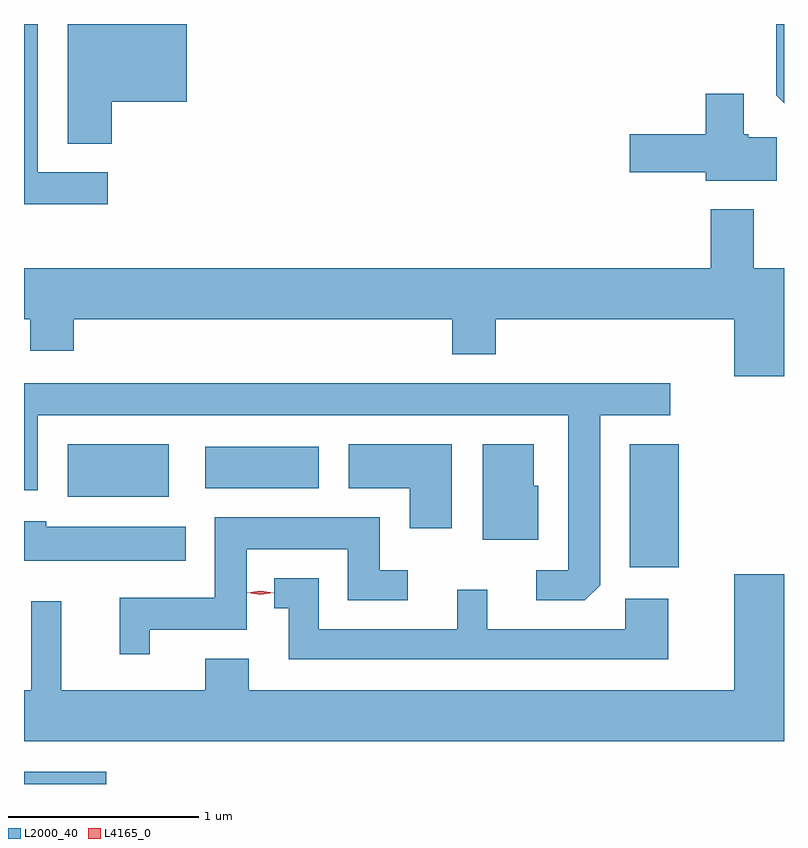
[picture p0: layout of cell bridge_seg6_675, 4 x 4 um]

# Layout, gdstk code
import gdstk
lib = gdstk.Library(unit=1e-6, precision=1e-09)
def R(c, l, rs):  # rectangles x0, y0, x1, y1
    for r in rs: c.add(gdstk.rectangle(r[:2], r[2:], *l))
def P(c, l, *ps):  # polygons
    for p in ps: c.add(gdstk.Polygon(p, *l))
L2000_40 = (2000, 40)
L4165_0 = (4165, 0)

bridge_seg6_675 = lib.new_cell('bridge_seg6_675')
R(bridge_seg6_675, L2000_40, [(311.237,1540.93,311.669,1540.994), (314.426,1542.071,314.684,1542.719), (311.466,1542.441,311.999,1542.719), (312.191,1542.486,312.789,1542.704)])
P(bridge_seg6_675, L2000_40, [(311.678,1544.149),(311.309,1544.149),(311.309,1544.93),(311.237,1544.93),(311.237,1543.981),(311.678,1543.981)],
  [(315.237,1544.93),(315.196,1544.93),(315.196,1544.554),(315.237,1544.513)],
  [(311.699,1544.521),(312.094,1544.521),(312.094,1544.93),(311.466,1544.93),(311.466,1544.301),(311.699,1544.301)],
  [(315.199,1544.334),(315.05,1544.334),(315.05,1544.349),(315.024,1544.349),(315.024,1544.564),(314.826,1544.564),(314.826,1544.349),(314.426,1544.349),(314.426,1544.151),(314.826,1544.151),(314.826,1544.106),(315.199,1544.106)],
  [(315.237,1543.644),(315.079,1543.644),(315.079,1543.954),(314.851,1543.954),(314.851,1543.644),(311.237,1543.644),(311.237,1543.376),(311.271,1543.376),(311.271,1543.211),(311.499,1543.211),(311.499,1543.376),(313.491,1543.376),(313.491,1543.191),(313.719,1543.191),(313.719,1543.376),(314.976,1543.376),(314.976,1543.076),(315.237,1543.076)],
  [(314.269,1541.977),(314.269,1542.871),(314.638,1542.871),(314.638,1543.039),(311.237,1543.039),(311.237,1542.476),(311.309,1542.476),(311.309,1542.871),(314.101,1542.871),(314.101,1542.054),(313.933,1542.054),(313.933,1541.896),(314.189,1541.896)],
  [(313.489,1542.719),(312.946,1542.719),(312.946,1542.486),(313.266,1542.486),(313.266,1542.276),(313.489,1542.276)],
  [(313.944,1542.499),(313.919,1542.499),(313.919,1542.719),(313.651,1542.719),(313.651,1542.216),(313.944,1542.216)],
  [(311.899,1541.741),(312.409,1541.741),(312.409,1542.166),(312.941,1542.166),(312.941,1541.896),(313.258,1541.896),(313.258,1542.054),(313.109,1542.054),(313.109,1542.334),(312.241,1542.334),(312.241,1541.909),(311.741,1541.909),(311.741,1541.613),(311.899,1541.613)],
  [(312.089,1542.284),(311.354,1542.284),(311.354,1542.314),(311.237,1542.314),(311.237,1542.106),(312.089,1542.106)],
  [(315.237,1542.034),(314.976,1542.034),(314.976,1541.424),(312.419,1541.424),(312.419,1541.589),(312.191,1541.589),(312.191,1541.424),(311.434,1541.424),(311.434,1541.893),(311.276,1541.893),(311.276,1541.424),(311.237,1541.424),(311.237,1541.156),(315.237,1541.156)],
  [(314.629,1541.904),(314.401,1541.904),(314.401,1541.744),(313.674,1541.744),(313.674,1541.953),(313.516,1541.953),(313.516,1541.744),(312.789,1541.744),(312.789,1542.014),(312.553,1542.014),(312.553,1541.856),(312.631,1541.856),(312.631,1541.586),(314.629,1541.586)])
P(bridge_seg6_675, L4165_0, [(312.481,1541.927),(312.412,1541.936),(312.412,1541.937),(312.412,1541.937),(312.481,1541.947),(312.551,1541.937),(312.551,1541.936),(312.551,1541.936)])

lib.write_gds('bridge_seg6_675.gds')
